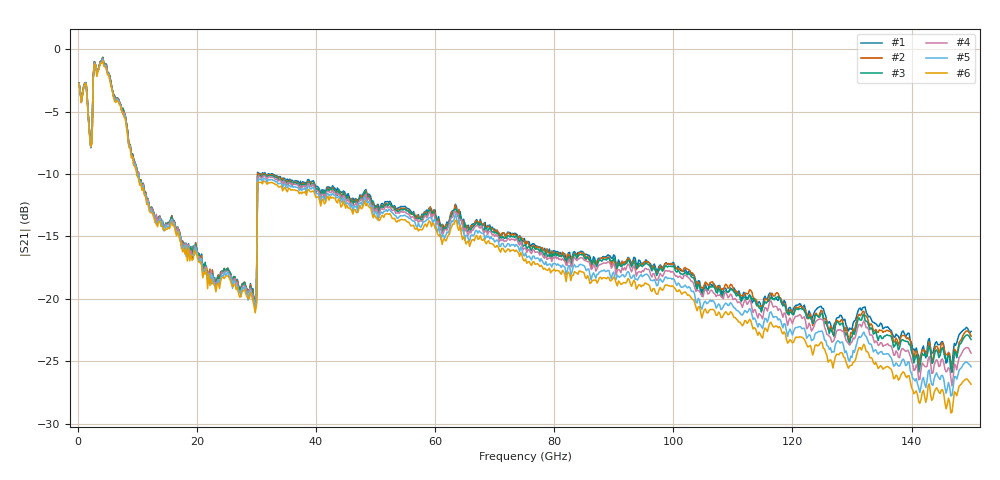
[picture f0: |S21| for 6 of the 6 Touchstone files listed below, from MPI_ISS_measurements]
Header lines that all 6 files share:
!  2-Port S-parameters saved by WinCal
! VAR MeasName=S-Parameters (RAW_DATA) read from VNA (MS4647B)
! VAR PHYS_PORTS=1,2
! VAR ObjTypeName=DATASET
! VAR IndexType=Frequency
# Hz S RI R 50
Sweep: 200 MHz to 150 GHz
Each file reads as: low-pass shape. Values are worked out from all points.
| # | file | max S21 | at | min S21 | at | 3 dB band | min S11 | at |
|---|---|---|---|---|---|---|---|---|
| 1 | MPI_line_0200u.s2p | -0.65 dB | 4.2 GHz | -25.9 dB | 146.6 GHz | 2.6 GHz-6 GHz | -54.3 dB | 76.6 GHz |
| 2 | MPI_line_0450u.s2p | -0.66 dB | 4.2 GHz | -25.8 dB | 146.8 GHz | 2.6 GHz-6 GHz | -49.2 dB | 73 GHz |
| 3 | MPI_line_0900u.s2p | -0.69 dB | 4.2 GHz | -25.9 dB | 146.8 GHz | 2.6 GHz-6 GHz | -53.1 dB | 48 GHz |
| 4 | MPI_line_1800u.s2p | -0.74 dB | 4.2 GHz | -27.0 dB | 146.8 GHz | 2.6 GHz-6 GHz | -45.1 dB | 10.2 GHz |
| 5 | MPI_line_3500u.s2p | -0.83 dB | 4.2 GHz | -27.8 dB | 146.6 GHz | 2.6 GHz-6 GHz | -57.9 dB | 51.4 GHz |
| 6 | MPI_line_5250u.s2p | -0.93 dB | 4.2 GHz | -29.2 dB | 146.6 GHz | 2.6 GHz-6 GHz | -44.4 dB | 24.8 GHz |
